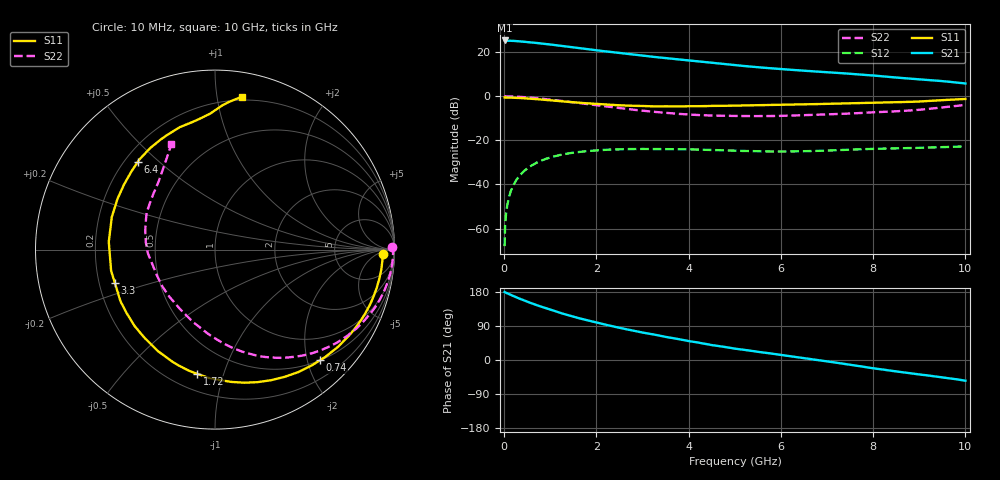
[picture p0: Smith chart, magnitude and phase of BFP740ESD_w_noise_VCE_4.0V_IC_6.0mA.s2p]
! Infineon Technologies  Discrete & RF Semiconductors
! BFP740ESD
! VCE =  4.0 V,  IC =  6.0 mA
! Common Emitter S-Parameters:  Jan 2016
# GHz  S  MA  R  50
!  f  S11  S21  S12  S22
! GHz  MAG  ANG  MAG  ANG  MAG  ANG  MAG  ANG
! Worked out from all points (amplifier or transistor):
!   233 points, 10 MHz to 10 GHz, reference 50 ohm
!   highest |S21| = 25.3 dB at 10 MHz (marker M1)
!   |S21| within 3 dB of that: start of sweep to 1.451 GHz
!   unconditionally stable (mu >= 1): start of sweep to 11.05 MHz; 5.607 GHz to 9.223 GHz
!   at 200 MHz: K = 0.11, MSG = 32.7 dB, |S12| = -40.4 dB
!   at 1.74 GHz: K = 0.30, MSG = 23.2 dB, |S12| = -25.0 dB
!   at 10 GHz: K = 0.69, MSG = 14.3 dB, |S12| = -22.7 dB
!   lowest NFmin = 0.54 dB at 450 MHz
!   S11 on the Smith chart (normalised r, x): 10 MHz: 27, -10; 740 MHz: 0.50, -2.24; 1.72 GHz: 0.30, -0.82; 3.3 GHz: 0.27, -0.15; 6.4 GHz: 0.25, +0.43; 10 GHz: 0.17, +1.18
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0.01  0.936 -1.4  18.33 179.5  0.0004 17.9  0.9848 1.0
0.03  0.9342 -2.1  18.08 178.1  0.0016 70.7  0.9925 -1.3
0.08  0.9337 -5.2  18.07 175.4  0.004 79.5  0.9915 -3.5
0.195  0.9263 -12.9  17.92 169.2  0.0094 78.7  0.984 -8.6
0.32  0.9136 -20.8  17.55 162.6  0.0152 75.0  0.9695 -13.9
0.54  0.8817 -34.5  16.7 152.1  0.0247 67.3  0.933 -22.8
0.74  0.8503 -46.4  15.9 143.3  0.0324 60.4  0.8939 -30.6
0.92  0.8216 -56.8  15.17 135.8  0.0385 54.5  0.8555 -37.2
1.2  0.7757 -72.2  14.01 124.9  0.0464 46.1  0.7918 -46.8
1.68  0.7046 -96.3  12.12 108.5  0.0555 33.7  0.6877 -61.1
1.72  0.6995 -98.1  11.97 107.2  0.0561 32.9  0.6799 -62.2
2.02  0.6661 -111.5  10.93 98.3  0.0595 26.7  0.6232 -70.0
2.4  0.6308 -127.9  9.808 87.6  0.0625 19.7  0.5561 -79.9
2.82  0.6055 -144.8  8.71 76.8  0.0636 13.1  0.4917 -90.6
3.3  0.588 -161.5  7.67 66.0  0.0635 7.3  0.4379 -102.0
3.4  0.5883 -165.0  7.484 63.5  0.0635 6.2  0.4289 -104.5
4  0.5934 175.8  6.495 50.0  0.0626 0.7  0.3852 -120.1
5.1  0.6136 150.8  4.949 28.5  0.0579 -5.0  0.3564 -147.1
6.4  0.6512 131.3  3.849 6.6  0.0564 -4.0  0.3704 -174.8
6.8  0.6636 125.5  3.603 -0.1  0.0578 -3.6  0.3812 177.6
8.4  0.7224 99.8  2.702 -28.5  0.0653 -7.4  0.4497 142.9
10  0.8662 79.9  1.944 -54.6  0.0729 -13.5  0.6345 112.5
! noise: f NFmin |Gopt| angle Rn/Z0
0.45  0.54  0.36  5  0.15
0.9  0.56  0.36  16  0.12
1.9  0.59  0.32  31  0.1
2.4  0.66  0.27  49  0.12
5.5  0.9  0.24  -167  0.11
10  1.83  0.61  -93  0.58
